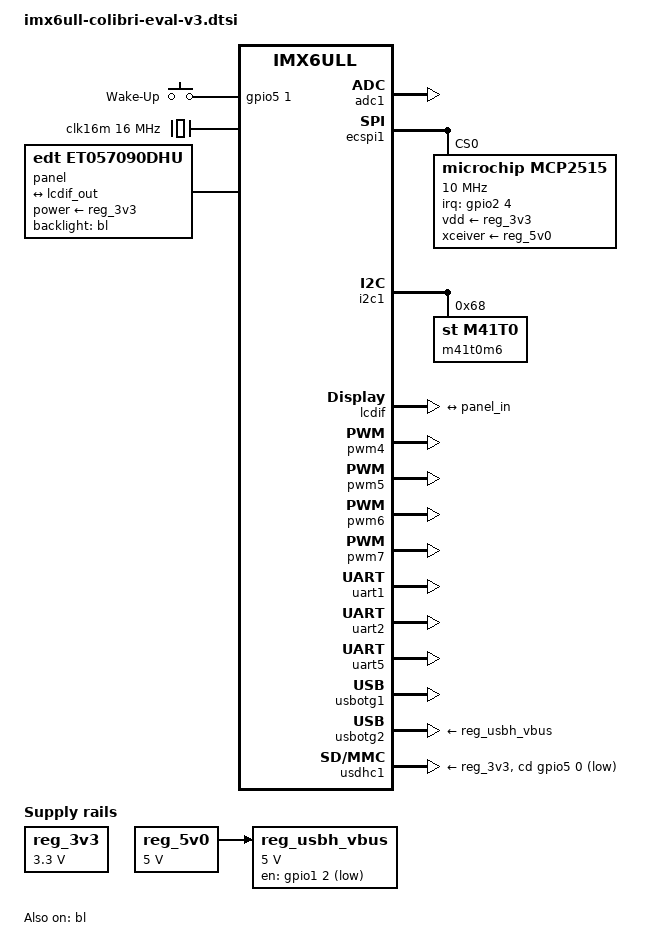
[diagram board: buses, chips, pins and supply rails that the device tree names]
// SPDX-License-Identifier: (GPL-2.0 OR MIT)
/*
 * Copyright 2017 Toradex AG
 */

/ {
	chosen {
		stdout-path = "serial0:115200n8";
	};

	gpio-keys {
		compatible = "gpio-keys";
		pinctrl-names = "default";
		pinctrl-0 = <&pinctrl_snvs_gpiokeys>;
		power {
			label = "Wake-Up";
			gpios = <&gpio5 1 GPIO_ACTIVE_HIGH>;
			linux,code = <KEY_WAKEUP>;
			debounce-interval = <10>;
			wakeup-source;
		};
	};

	/* fixed crystal dedicated to mcp2515 */
	clk16m: clk16m {
		compatible = "fixed-clock";
		#clock-cells = <0>;
		clock-frequency = <16000000>;
	};

	panel: panel {
		compatible = "edt,et057090dhu";
		backlight = <&bl>;
		power-supply = <&reg_3v3>;

		port {
			panel_in: endpoint {
				remote-endpoint = <&lcdif_out>;
			};
		};
	};

	reg_3v3: regulator-3v3 {
		compatible = "regulator-fixed";
		regulator-name = "3.3V";
		regulator-min-microvolt = <3300000>;
		regulator-max-microvolt = <3300000>;
	};

	reg_5v0: regulator-5v0 {
		compatible = "regulator-fixed";
		regulator-name = "5V";
		regulator-min-microvolt = <5000000>;
		regulator-max-microvolt = <5000000>;
	};

	reg_usbh_vbus: regulator-usbh-vbus {
		compatible = "regulator-fixed";
		pinctrl-names = "default";
		pinctrl-0 = <&pinctrl_usbh_reg>;
		regulator-name = "VCC_USB[1-4]";
		regulator-min-microvolt = <5000000>;
		regulator-max-microvolt = <5000000>;
		gpio = <&gpio1 2 GPIO_ACTIVE_LOW>;
		vin-supply = <&reg_5v0>;
	};
};

&adc1 {
	status = "okay";
};

&bl {
	brightness-levels = <0 4 8 16 32 64 128 255>;
	default-brightness-level = <6>;
	power-supply = <&reg_3v3>;
	pwms = <&pwm4 0 5000000 1>;
	status = "okay";
};

&ecspi1 {
	status = "okay";

	mcp2515: can@0 {
		compatible = "microchip,mcp2515";
		pinctrl-names = "default";
		pinctrl-0 = <&pinctrl_can_int>;
		reg = <0>;
		clocks = <&clk16m>;
		interrupt-parent = <&gpio2>;
		interrupts = <4 IRQ_TYPE_EDGE_FALLING>;
		spi-max-frequency = <10000000>;
		vdd-supply = <&reg_3v3>;
		xceiver-supply = <&reg_5v0>;
		status = "okay";
	};
};

&flexcan1 {
	pinctrl-names = "default";
	pinctrl-0 = <&pinctrl_flexcan1>;
	status = "disabled";
};

&flexcan2 {
	pinctrl-names = "default";
	pinctrl-0 = <&pinctrl_flexcan2>;
	status = "disabled";
};

&i2c1 {
	status = "okay";

	/*
	 * the PCAPs use SODIMM 28/30, also used for PWM<B>, PWM<C>, aka pwm5,
	 * pwm6. so if you enable one of the PCAP controllers disable the pwms
	 */
	atmel_mxt_ts: atmel_mxt_ts@4a {
		compatible = "atmel,maxtouch";
		pinctrl-names = "default";
		pinctrl-0 = <&pinctrl_gpiotouch>;
		reg = <0x4a>;
		interrupt-parent = <&gpio4>;
		interrupts = <16 IRQ_TYPE_EDGE_FALLING>; /* SODIMM 28 */
		reset-gpios = <&gpio2 5 GPIO_ACTIVE_HIGH>; /* SODIMM 30 */
		status = "disabled";
	};

	touch: touchrevf0710a@10 {
		compatible = "touchrevolution,fusion-f0710a";
		pinctrl-names = "default";
		pinctrl-0 = <&pinctrl_gpiotouch>;
		reg = <0x10>;
			/* SODIMM 28, Pen down interrupt */
		gpios = <&gpio4 16 GPIO_ACTIVE_HIGH
			/* SODIMM 30, Reset interrupt */
			 &gpio2 5 GPIO_ACTIVE_LOW
			>;
		status = "disabled";
	};

	/* M41T0M6 real time clock on carrier board */
	m41t0m6: rtc@68 {
		compatible = "st,m41t0";
		reg = <0x68>;
	};
};

&lcdif {
	status = "okay";

	port {
		lcdif_out: endpoint {
			remote-endpoint = <&panel_in>;
		};
	};
};

/* PWM <A> */
&pwm4 {
	status = "okay";
};

/* PWM <B> */
&pwm5 {
	status = "okay";
};

/* PWM <C> */
&pwm6 {
	status = "okay";
};

/* PWM <D> */
&pwm7 {
	status = "okay";
};

&uart1 {
	status = "okay";
};

&uart2 {
	status = "okay";
};

&uart5 {
	status = "okay";
};

&usbotg1 {
	status = "okay";
};

&usbotg2 {
	vbus-supply = <&reg_usbh_vbus>;
	status = "okay";
};

&usdhc1 {
	pinctrl-names = "default";
	pinctrl-0 = <&pinctrl_usdhc1 &pinctrl_snvs_usdhc1_cd>;
	no-1-8-v;
	cd-gpios = <&gpio5 0 GPIO_ACTIVE_LOW>;
	disable-wp;
	wakeup-source;
	keep-power-in-suspend;
	vmmc-supply = <&reg_3v3>;
	status = "okay";
};

&iomuxc {
	pinctrl_gpiotouch: touchgpios {
		fsl,pins = <
			MX6UL_PAD_NAND_DQS__GPIO4_IO16		0x74
			MX6UL_PAD_ENET1_TX_EN__GPIO2_IO05	0x14
		>;
	};
};
